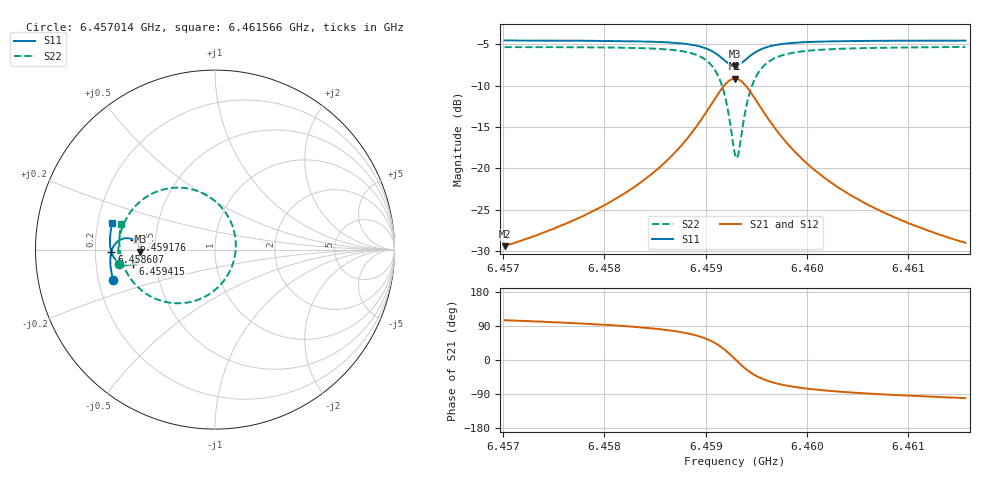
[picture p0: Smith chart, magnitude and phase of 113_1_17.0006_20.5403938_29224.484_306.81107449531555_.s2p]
#  HZ  S  RI  R  50.00
! Rohde & Schwarz Vector Network Analyzer
! Rohde-Schwarz,ZNB20-2Port,1311601062101988,3.16
! Created: UTC 3/20/2024, 10:57:07 PM
! freq[Hz]  re:S11  im:S11  re:S21  im:S21  re:S12  im:S12  re:S22  im:S22
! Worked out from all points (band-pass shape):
!   401 points, 6.457014 GHz to 6.461566 GHz, reference 50 ohm
!   highest |S21| = -9.16 dB at 6.45929 GHz (marker M1); lowest = -29.4 dB at 6.457014 GHz (marker M2)
!   |S21| within 3 dB of the highest: 6.459062 GHz to 6.459517 GHz (455.7 kHz wide, 0.00706 % of centre)
!   lowest |S11| = -7.6 dB at 6.45929 GHz (marker M3), VSWR 2.42, Z = 20.6 - j0.547 ohm
!   |S11| at or under -10 dB: nowhere
!   |S22| runs from -18.7 to -5.3 dB; largest |S21 - S12| = 0.014
!   S11 on the Smith chart (normalised r, x): 6.457014 GHz: 0.26, -0.14; 6.458607 GHz: 0.27, -0.01; 6.459176 GHz: 0.38, +0.05; 6.459415 GHz: 0.37, -0.07; 6.461566 GHz: 0.26, +0.12
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6.4570138e9  -0.567 -0.1708  -0.00879 0.0328  -0.00704 0.0328  -0.5336 -0.0811
6.4577763e9  -0.5807 -0.1038  -0.00547 0.0509  -0.00303 0.0503  -0.5384 0.00862
6.4582088e9  -0.5834 -0.0602  0.000867 0.0712  0.00417 0.0698  -0.5294 0.0782
6.4585388e9  -0.5795 -0.0204  0.0146 0.0997  0.0186 0.0969  -0.5039 0.1538
6.4586071e9  -0.5772 -0.0107  0.0201 0.108  0.0241 0.105  -0.4938 0.1738
6.4588006e9  -0.5644 0.0198  0.0468 0.1394  0.051 0.1343  -0.4433 0.243
6.4589485e9  -0.5415 0.0461  0.0927 0.1701  0.0959 0.1633  -0.3588 0.3074
6.4590851e9  -0.4971 0.0636  0.1809 0.1865  0.1818 0.1791  -0.1979 0.3453
6.4591761e9  -0.4519 0.053  0.2716 0.1544  0.2718 0.1487  -0.0304 0.2934
6.4592444e9  -0.4226 0.0205  0.3322 0.0816  0.3345 0.0763  0.0848 0.162
6.4592899e9  -0.4158 -0.011  0.3483 0.013  0.3522 0.00612  0.1161 0.0338
6.4593013e9  -0.4162 -0.0192  0.3482 -0.00481  0.352 -0.0127  0.1156 5.26e-05
6.4593241e9  -0.4199 -0.035  0.3423 -0.0398  0.3463 -0.0489  0.1038 -0.066
6.4593696e9  -0.4357 -0.0614  0.3131 -0.0999  0.3154 -0.112  0.0448 -0.1793
6.4594151e9  -0.4579 -0.0779  0.2707 -0.1411  0.2699 -0.1544  -0.0413 -0.2541
6.4595062e9  -0.5016 -0.0848  0.1853 -0.1721  0.1791 -0.1837  -0.211 -0.2992
6.4596541e9  -0.5461 -0.0644  0.0969 -0.158  0.0883 -0.1642  -0.3791 -0.2489
6.4598134e9  -0.5679 -0.0368  0.0518 -0.1299  0.0442 -0.1325  -0.4595 -0.1763
6.4600524e9  -0.5808 -0.0013  0.0225 -0.0982  0.0166 -0.0986  -0.5074 -0.0935
6.4604052e9  -0.5855 0.0408  0.00597 -0.0704  0.00205 -0.0698  -0.5293 -0.0122
6.4608149e9  -0.5838 0.0821  -0.00149 -0.0523  -0.00427 -0.0514  -0.533 0.0535
6.461566e9  -0.572 0.1489  -0.00656 -0.0349  -0.00819 -0.0339  -0.5219 0.1429
